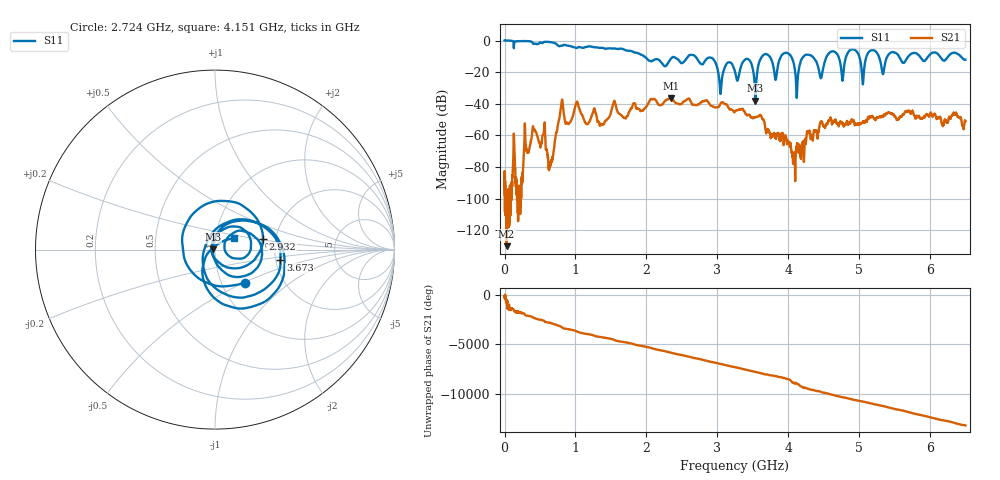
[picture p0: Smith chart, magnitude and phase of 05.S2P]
!Keysight Technologies,E5063A,MY54503115,A.05.08
!Date: Wed Dec 06 19:13:03 2023
!Data & Calibration Information:
!Freq	S11:NONE(--)	S21:NONE(--)	S12:NONE(--)	S22:NONE(--)
# Hz S dB R 50
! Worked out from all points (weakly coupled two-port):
!   10001 points, 100 kHz to 6.5 GHz, reference 50 ohm
!   highest |S21| = -36.32 dB at 2.354 GHz (marker M1); lowest = -130.0 dB at 28.7 MHz (marker M2)
!   lowest |S11| = -37.9 dB at 3.538 GHz (marker M3), VSWR 1.03, Z = 48.7 + j0.0897 ohm
!   |S11| at or under -10 dB: 1.97 GHz to 2.589 GHz (619.4 MHz wide, 27.2 % of centre); 2.691 GHz to 3.633 GHz (942.5 MHz wide, 29.8 % of centre); 4.341 GHz to 4.545 GHz (204 MHz wide, 4.59 % of centre) (the widest 3 of 12)
!   S12 and S22 are empty: the file has one direction only
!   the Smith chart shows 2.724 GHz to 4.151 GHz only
!   S11 on the Smith chart (normalised r, x): 2.724 GHz: 1.29, -0.51; 2.932 GHz: 1.71, +0.22; 3.673 GHz: 2.12, -0.28; 4.151 GHz: 1.23, +0.16
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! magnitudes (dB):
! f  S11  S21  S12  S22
! 100 kHz  0.0  -83.5  -  -
! 28.7 MHz  0.0  -130.0  -  -
! 233.4 MHz  -0.4  -90.3  -  -
! 420 MHz  -2.1  -56.4  -  -
! 646.2 MHz  -1.0  -78.1  -  -
! 800.2 MHz  -3.2  -40.4  -  -
! 1.084 GHz  -4.4  -46.5  -  -
! 2.167 GHz  -12.0  -40.4  -  -
! 2.354 GHz  -11.1  -36.3  -  -
! 2.724 GHz  -12.1  -40.4  -  -
! 2.932 GHz  -11.3  -41.5  -  -
! 3.044 GHz  -33.6  -40.0  -  -
! 3.25 GHz  -19.6  -44.8  -  -
! 3.431 GHz  -11.7  -47.1  -  -
! 3.538 GHz  -37.9  -48.3  -  -
! 3.673 GHz  -8.7  -54.2  -  -
! 4.151 GHz  -18.1  -68.6  -  -
! 4.334 GHz  -9.8  -59.8  -  -
! 4.461 GHz  -23.8  -51.5  -  -
! 4.614 GHz  -6.9  -52.0  -  -
! 5.417 GHz  -8.8  -45.2  -  -
! 6.5 GHz  -12.2  -51.1  -  -
